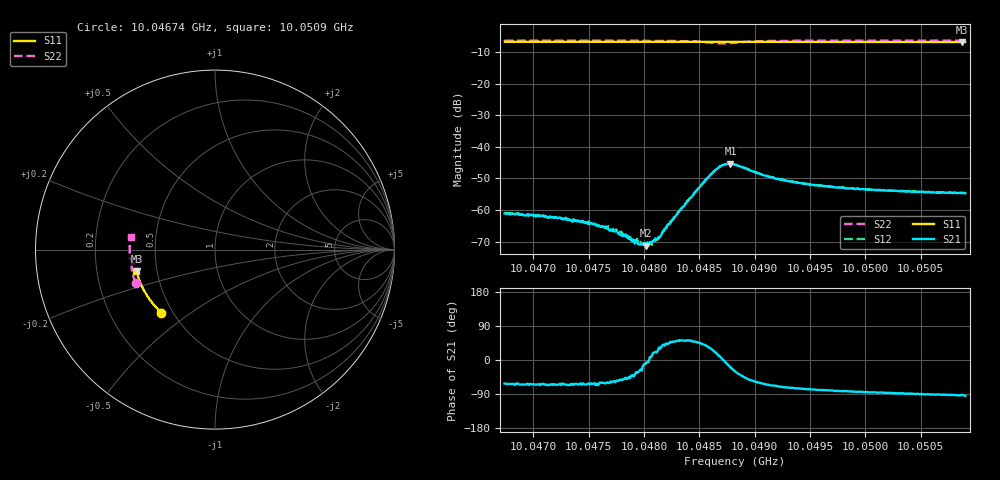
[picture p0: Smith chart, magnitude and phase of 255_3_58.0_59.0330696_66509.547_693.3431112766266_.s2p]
#  HZ  S  RI  R  50.00
! Rohde & Schwarz Vector Network Analyzer
! Rohde-Schwarz,ZNB20-2Port,1311601062101988,3.16
! Created: UTC 3/21/2024, 1:01:45 AM
! freq[Hz]  re:S11  im:S11  re:S21  im:S21  re:S12  im:S12  re:S22  im:S22
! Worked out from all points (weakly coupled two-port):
!   401 points, 10.04674 GHz to 10.0509 GHz, reference 50 ohm
!   highest |S21| = -45.35 dB at 10.04878 GHz (marker M1); lowest = -71.3 dB at 10.04802 GHz (marker M2)
!   lowest |S11| = -6.9 dB at 10.05087 GHz (marker M3), VSWR 2.66, Z = 19.1 - j5.81 ohm
!   |S11| at or under -10 dB: nowhere
!   |S22| runs from -7.4 to -6.4 dB; largest |S21 - S12| = 0.00037
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1.004674e10  -0.2988 -0.3508  0.000417 -0.000782  0.000469 -0.000759  -0.4412 -0.1881
1.0047219e10  -0.3216 -0.3287  0.000312 -0.00068  0.00036 -0.000656  -0.452 -0.157
1.0047438e10  -0.3315 -0.318  0.000279 -0.000617  0.000327 -0.000563  -0.4562 -0.1426
1.0047677e10  -0.3419 -0.3061  0.00025 -0.000443  0.000316 -0.000461  -0.4603 -0.1259
1.0047761e10  -0.3453 -0.3019  0.000259 -0.000361  0.000274 -0.000346  -0.4615 -0.1198
1.0047813e10  -0.3475 -0.2992  0.000256 -0.000307  0.000283 -0.000303  -0.4622 -0.1161
1.0047875e10  -0.3499 -0.2959  0.000248 -0.00027  0.000286 -0.000249  -0.4631 -0.1113
1.0047969e10  -0.3539 -0.291  0.000261 -0.000121  0.000301 -9.37e-05  -0.4639 -0.1042
1.0048021e10  -0.356 -0.2884  0.000272 -3.09e-05  0.000306 -3.8e-05  -0.4644 -0.1002
1.0048052e10  -0.3572 -0.2866  0.000292 3.71e-05  0.000307 2.72e-05  -0.4645 -0.0975
1.0048135e10  -0.3605 -0.2823  0.000303 0.000197  0.000323 0.000204  -0.4649 -0.0905
1.0048198e10  -0.363 -0.279  0.000372 0.000354  0.000399 0.000351  -0.4649 -0.0852
1.0048396e10  -0.3704 -0.2682  0.000852 0.00109  0.000817 0.00115  -0.4612 -0.0658
1.0048604e10  -0.3778 -0.2567  0.00315 0.00184  0.0031 0.00199  -0.4395 -0.0488
1.0048697e10  -0.3809 -0.2515  0.00496 0.000511  0.00496 0.000807  -0.4246 -0.058
1.0048781e10  -0.3837 -0.2472  0.00511 -0.00176  0.00521 -0.00142  -0.4273 -0.0744
1.0048822e10  -0.3851 -0.2449  0.00452 -0.00258  0.00469 -0.00232  -0.434 -0.079
1.0049145e10  -0.3959 -0.2266  0.00131 -0.00307  0.0015 -0.00298  -0.4673 -0.058
1.004952e10  -0.4071 -0.2044  0.000533 -0.00247  0.000667 -0.00245  -0.4746 -0.0267
1.0050217e10  -0.4246 -0.1621  0.000119 -0.00203  0.000208 -0.002  -0.4755 0.0238
1.0050873e10  -0.437 -0.1209  -7.54e-05 -0.00186  -7.67e-07 -0.00187  -0.4709 0.068
1.0050904e10  -0.4377 -0.1189  -0.000151 -0.00184  -1.06e-05 -0.00187  -0.4708 0.07
